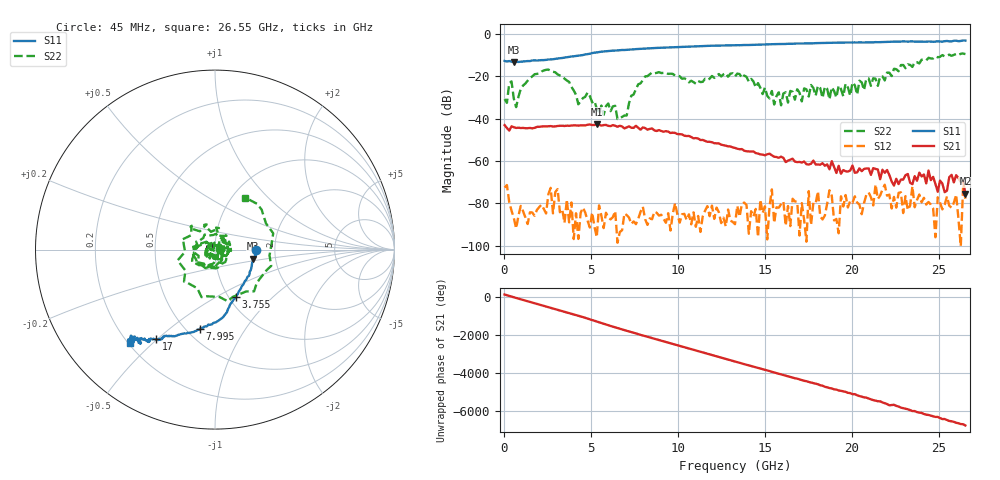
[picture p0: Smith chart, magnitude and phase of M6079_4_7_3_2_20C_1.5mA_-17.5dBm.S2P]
!  2-Port S-parameters saved by WinCal
! VAR MeasName=S-Parameters (CALIBRATED_DATA) read from VNA (C)
! VAR MeasDate=10/5/2015 4:48:48 PM
! VAR NAME=M6079_4_7_3_2_20C_1.5mA_-17.5dBm
! VAR FILENAME=M6079_4_7_3_2_20C_1.5mA_-17.5dBm.S2P
! VAR DATE=10/5/2015 4:48:48 PM
! VAR PHYS_PORTS=2,1
! VAR ObjTypeName=DATASET
! VAR IndexType=Frequency
# Hz S DB R 50
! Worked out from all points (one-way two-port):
!   201 points, 45 MHz to 26.55 GHz, reference 50 ohm
!   highest |S21| = -42.56 dB at 5.345 GHz (marker M1); lowest = -75.5 dB at 26.55 GHz (marker M2)
!   lowest |S11| = -13.2 dB at 575 MHz (marker M3), VSWR 1.56, Z = 76.4 - j8.17 ohm
!   |S11| at or under -10 dB: start of sweep to 4.477 GHz
!   |S22| runs from -40.2 to -9.2 dB; largest |S21 - S12| = 0.0074
!   S11 on the Smith chart (normalised r, x): 45 MHz: 1.60, -0.01; 3.755 GHz: 1.07, -0.62; 7.995 GHz: 0.58, -0.64; 17 GHz: 0.32, -0.50; 26.55 GHz: 0.21, -0.43
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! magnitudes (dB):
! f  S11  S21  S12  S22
! 45 MHz  -12.7  -43.1  -72.5  -30.7
! 442.5 MHz  -13.1  -43.6  -83.5  -22.4
! 575 MHz  -13.2  -44.0  -86.9  -30.5
! 2.43 GHz  -12.2  -43.6  -84.8  -16.9
! 2.695 GHz  -12.0  -43.5  -72.7  -17.4
! 3.755 GHz  -10.8  -43.3  -89.0  -22.6
! 4.55 GHz  -9.9  -43.1  -82.0  -30.2
! 5.345 GHz  -8.7  -42.6  -96.0  -35.3
! 7.067 GHz  -7.5  -44.1  -85.6  -38.5
! 7.995 GHz  -6.9  -44.2  -81.6  -21.8
! 8.922 GHz  -6.5  -45.4  -85.8  -18.0
! 13.29 GHz  -5.3  -53.8  -89.9  -20.0
! 15.41 GHz  -4.8  -57.3  -73.4  -26.9
! 15.55 GHz  -4.8  -58.0  -89.3  -33.3
! 17 GHz  -4.5  -60.5  -95.2  -27.7
! 17.8 GHz  -4.4  -59.8  -79.7  -25.4
! 20.32 GHz  -4.0  -65.4  -79.7  -28.6
! 22.17 GHz  -3.7  -66.7  -75.9  -18.3
! 24.43 GHz  -3.5  -64.5  -79.4  -11.2
! 25.35 GHz  -3.4  -74.7  -80.7  -10.5
! 26.02 GHz  -3.1  -66.7  -75.9  -9.5
! 26.55 GHz  -3.1  -75.5  -77.8  -9.5
